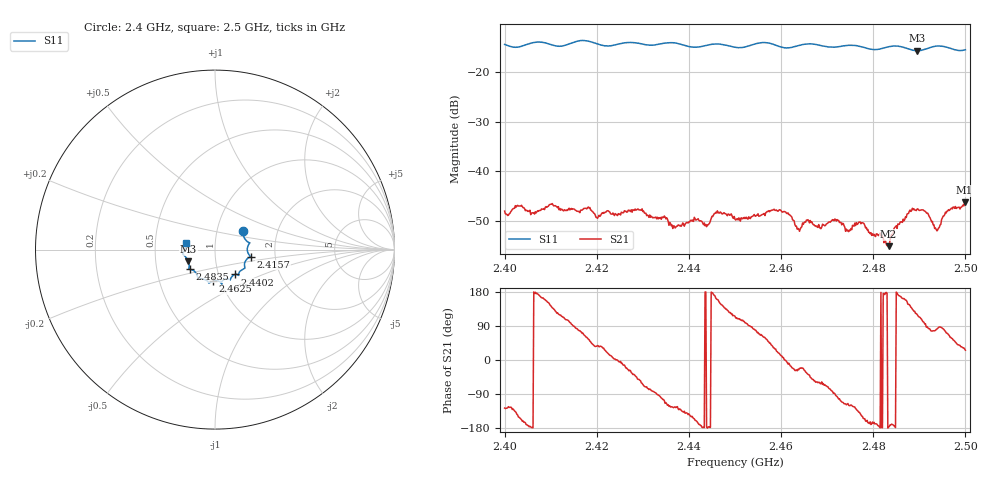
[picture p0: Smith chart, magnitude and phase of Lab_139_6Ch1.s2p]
# Hz S RI R 50
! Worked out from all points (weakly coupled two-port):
!   601 points, 2.4 GHz to 2.5 GHz, reference 50 ohm
!   highest |S21| = -46.23 dB at 2.4998 GHz (marker M1); lowest = -55.0 dB at 2.4833 GHz (marker M2)
!   lowest |S11| = -15.8 dB at 2.4895 GHz (marker M3), VSWR 1.39, Z = 36.8 - j4.99 ohm
!   |S11| at or under -10 dB: start of sweep to end of sweep
!   S12 and S22 are empty: the file has one direction only
!   S11 on the Smith chart (normalised r, x): 2.4 GHz: 1.33, +0.29; 2.4157 GHz: 1.49, -0.12; 2.4402 GHz: 1.20, -0.34; 2.4625 GHz: 0.92, -0.33; 2.4835 GHz: 0.74, -0.17; 2.5 GHz: 0.72, +0.06
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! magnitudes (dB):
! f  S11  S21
! 2.4 GHz  -14.5  -48.0
! 2.4157 GHz  -13.9  -48.0
! 2.4167 GHz  -13.8  -47.8
! 2.4333 GHz  -14.5  -49.5
! 2.4402 GHz  -15.0  -50.1
! 2.444 GHz  -14.7  -50.7
! 2.4463 GHz  -14.5  -48.3
! 2.45 GHz  -15.1  -49.6
! 2.4585 GHz  -14.6  -47.6
! 2.4625 GHz  -15.1  -49.7
! 2.4638 GHz  -14.7  -51.6
! 2.4667 GHz  -14.4  -50.1
! 2.472 GHz  -15.1  -50.0
! 2.4745 GHz  -14.7  -51.8
! 2.4775 GHz  -15.0  -50.3
! 2.4833 GHz  -15.0  -55.0
! 2.4835 GHz  -15.0  -54.6
! 2.4895 GHz  -15.8  -47.6
! 2.4938 GHz  -14.9  -51.9
! 2.4962 GHz  -15.2  -47.9
! 2.4998 GHz  -15.6  -46.2
! 2.5 GHz  -15.6  -46.3
